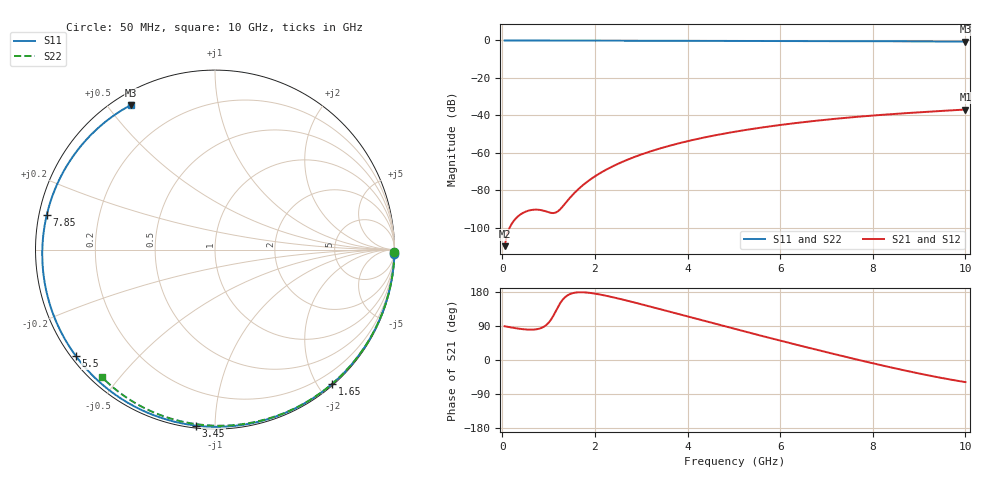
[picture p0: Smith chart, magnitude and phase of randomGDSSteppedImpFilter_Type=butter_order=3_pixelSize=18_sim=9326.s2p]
! freq	dB(S11)	phase(S11)	dB(S12)	phase(S12)
!  dB(S21)	phase(S21)	dB(S22)	phase(S22)
!S-par simulation data
#  GHz  S  DB  R 50
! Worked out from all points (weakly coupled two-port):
!   200 points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, 50 MHz to 10 GHz, reference 50 ohm
!   highest |S21| = -36.85 dB at 10 GHz (marker M1); lowest = -109.8 dB at 50 MHz (marker M2)
!   lowest |S11| = -0.6 dB at 10 GHz (marker M3), VSWR 28.43, Z = 2.34 + j28.7 ohm
!   |S11| at or under -10 dB: nowhere
!   |S22| runs from -0.4 to 0.0 dB; largest |S21 - S12| = 0
!   S11 on the Smith chart (normalised r, x): 50 MHz: 0, -75; 1.65 GHz: 0.02, -2.20; 3.45 GHz: 0.01, -0.90; 5.5 GHz: 0.01, -0.34; 7.85 GHz: 0.02, +0.10; 10 GHz: 0.05, +0.57
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0.05  -0.00 -1.5  -109.78 89.1  -109.78 89.1  -0.00 -0.8
0.4  -0.02 -12.1  -92.72 81.9  -92.72 81.9  -0.01 -6.1
0.8  -0.03 -24.1  -90.40 82.7  -90.40 82.7  -0.02 -12.1
1.2  -0.04 -35.9  -91.20 139.4  -91.20 139.4  -0.02 -18.1
1.6  -0.06 -47.4  -80.34 178.2  -80.34 178.2  -0.03 -24.0
1.65  -0.06 -48.8  -79.18 178.7  -79.18 178.7  -0.03 -24.8
1.75  -0.06 -51.6  -77.03 178.7  -77.03 178.7  -0.03 -26.2
2.05  -0.07 -60.0  -71.74 174.1  -71.74 174.1  -0.04 -30.6
2.45  -0.09 -70.8  -66.39 163.8  -66.39 163.8  -0.05 -36.4
2.9  -0.10 -82.5  -61.75 150.3  -61.75 150.3  -0.06 -42.9
3.4  -0.12 -95.0  -57.67 134.4  -57.67 134.4  -0.07 -49.9
3.45  -0.12 -96.2  -57.31 132.7  -57.31 132.7  -0.07 -50.6
4.2  -0.15 -114.0  -52.63 108.4  -52.63 108.4  -0.09 -61.0
5.05  -0.19 -132.9  -48.59 81.1  -48.59 81.1  -0.11 -72.3
5.5  -0.21 -142.6  -46.83 66.8  -46.83 66.8  -0.13 -78.1
6.1  -0.25 -155.2  -44.80 48.1  -44.80 48.1  -0.15 -85.7
6.7  -0.29 -167.7  -43.06 29.7  -43.06 29.7  -0.18 -93.1
7.3  -0.34 179.8  -41.55 11.7  -41.55 11.7  -0.21 -100.4
7.85  -0.38 168.3  -40.37 -4.3  -40.37 -4.3  -0.25 -106.9
8.35  -0.43 157.6  -39.42 -18.4  -39.42 -18.4  -0.29 -112.8
9.15  -0.51 140.0  -38.12 -39.4  -38.12 -39.4  -0.36 -121.9
10  -0.61 120.1  -36.85 -58.3  -36.85 -58.3  -0.45 -131.6
